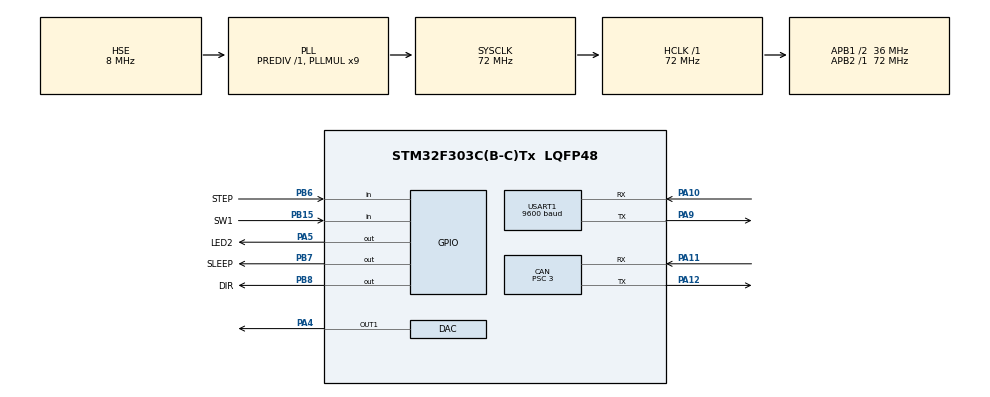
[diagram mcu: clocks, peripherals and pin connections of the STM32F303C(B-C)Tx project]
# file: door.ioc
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CAN.ABOM=ENABLE
CAN.BS1=CAN_BS1_9TQ
CAN.BS2=CAN_BS2_2TQ
CAN.CalculateTimeQuantum=83.33333333333334
CAN.NART=DISABLE
CAN.Prescaler=3
Mcu.Family=STM32F3
Mcu.Name=STM32F303C(B-C)Tx
Mcu.Package=LQFP48
NVIC.CAN_RX1_IRQn=true\:0\:0\:false\:false\:true\:true
NVIC.PriorityGroup=NVIC_PRIORITYGROUP_4
NVIC.USART1_IRQn=true\:0\:0\:false\:false\:true\:true
NVIC.USB_HP_CAN_TX_IRQn=true\:0\:0\:false\:false\:true\:true
PA10.Mode=Asynchronous
PA10.Signal=USART1_RX
PA11.Mode=Master
PA11.Signal=CAN_RX
PA12.Mode=Master
PA12.Signal=CAN_TX
PA13.Mode=Serial_Wire
PA13.Signal=SYS_JTMS-SWDIO
PA14.Mode=Serial_Wire
PA14.Signal=SYS_JTCK-SWCLK
PA4.Signal=COMP_DAC1_group
PA5.GPIO_Label=LED2
PA5.Signal=GPIO_Output
PA9.Mode=Asynchronous
PA9.Signal=USART1_TX
PB15.GPIO_Label=SW1
PB15.Signal=GPIO_Input
PB6.GPIO_Label=STEP
PB6.Signal=GPIO_Input
PB7.GPIO_Label=SLEEP
PB7.Signal=GPIO_Output
PB8.GPIO_Label=DIR
PB8.Signal=GPIO_Output
PF0-OSC_IN.Mode=HSE-External-Oscillator
PF0-OSC_IN.Signal=RCC_OSC_IN
PF1-OSC_OUT.Mode=HSE-External-Oscillator
PF1-OSC_OUT.Signal=RCC_OSC_OUT
ProjectManager.HeapSize=0x200
ProjectManager.StackSize=0x400
ProjectManager.TargetToolchain=Makefile
RCC.AHBFreq_Value=72000000
RCC.APB1CLKDivider=RCC_HCLK_DIV2
RCC.APB1Freq_Value=36000000
RCC.APB1TimFreq_Value=72000000
RCC.APB2Freq_Value=72000000
RCC.APB2TimFreq_Value=72000000
RCC.CortexFreq_Value=72000000
RCC.HCLKFreq_Value=72000000
RCC.HSE_VALUE=8000000
RCC.HSI_VALUE=8000000
RCC.LSE_VALUE=32768
RCC.PLLMUL=RCC_PLL_MUL9
RCC.PLLSourceVirtual=RCC_PLLSOURCE_HSE
RCC.SYSCLKFreq_VALUE=72000000
RCC.SYSCLKSourceVirtual=RCC_SYSCLKSOURCE_PLLCLK
RCC.USBFreq_Value=72000000
SH.COMP_DAC1_group.0=DAC_OUT1,DAC_OUT1
USART1.BaudRate=9600
USART1.VirtualMode-Asynchronous=VM_ASYNC
VP_TIM1_VS_ClockSourceINT.Mode=Internal
board=custom

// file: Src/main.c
/**
  ******************************************************************************
  * @file           : main.c
  * @brief          : Main program body
  ******************************************************************************
  ** This notice applies to any and all portions of this file
  * that are not between comment pairs USER CODE BEGIN and
  * USER CODE END. Other portions of this file, whether
  * inserted by the user or by software development tools
  * are owned by their respective copyright owners.
  *
  * COPYRIGHT(c) 2019 STMicroelectronics
  *
  * Redistribution and use in source and binary forms, with or without modification,
  * are permitted provided that the following conditions are met:
  *   1. Redistributions of source code must retain the above copyright notice,
  *      this list of conditions and the following disclaimer.
  *   2. Redistributions in binary form must reproduce the above copyright notice,
  *      this list of conditions and the following disclaimer in the documentation
  *      and/or other materials provided with the distribution.
  *   3. Neither the name of STMicroelectronics nor the names of its contributors
  *      may be used to endorse or promote products derived from this software
  *      without specific prior written permission.
  *
  * THIS SOFTWARE IS PROVIDED BY THE COPYRIGHT HOLDERS AND CONTRIBUTORS "AS IS"
  * AND ANY EXPRESS OR IMPLIED WARRANTIES, INCLUDING, BUT NOT LIMITED TO, THE
  * IMPLIED WARRANTIES OF MERCHANTABILITY AND FITNESS FOR A PARTICULAR PURPOSE ARE
  * DISCLAIMED. IN NO EVENT SHALL THE COPYRIGHT HOLDER OR CONTRIBUTORS BE LIABLE
  * FOR ANY DIRECT, INDIRECT, INCIDENTAL, SPECIAL, EXEMPLARY, OR CONSEQUENTIAL
  * DAMAGES (INCLUDING, BUT NOT LIMITED TO, PROCUREMENT OF SUBSTITUTE GOODS OR
  * SERVICES; LOSS OF USE, DATA, OR PROFITS; OR BUSINESS INTERRUPTION) HOWEVER
  * CAUSED AND ON ANY THEORY OF LIABILITY, WHETHER IN CONTRACT, STRICT LIABILITY,
  * OR TORT (INCLUDING NEGLIGENCE OR OTHERWISE) ARISING IN ANY WAY OUT OF THE USE
  * OF THIS SOFTWARE, EVEN IF ADVISED OF THE POSSIBILITY OF SUCH DAMAGE.
  *
  ******************************************************************************
  */
#include "main.h"
#include "stm32f3xx_hal.h"

/* USER CODE BEGIN Includes */
#include <math.h>
#include "pin.h"
#define SINE_VALUES 400
#define PI 3.14159265
/* USER CODE END Includes */

CAN_HandleTypeDef hcan;

DAC_HandleTypeDef hdac;

TIM_HandleTypeDef htim1;

UART_HandleTypeDef huart1;

/* USER CODE BEGIN PV */
/* Private variables ---------------------------------------------------------*/
#ifdef __cplusplus

extern "C" {

#endif

/* USER CODE END PV */

void SystemClock_Config(void);
static void MX_GPIO_Init(void);
static void MX_CAN_Init(void);
static void MX_USART1_UART_Init(void);
static void MX_TIM1_Init(void);
static void MX_DAC_Init(void);

/* USER CODE BEGIN PFP */
/* Private function prototypes -----------------------------------------------*/

/* USER CODE END PFP */
#ifdef __cplusplus

}

#endif

int main(void)
{

  /* MCU Configuration----------------------------------------------------------*/

  /* Reset of all peripherals, Initializes the Flash interface and the Systick. */
  HAL_Init();

  /* Configure the system clock */
  SystemClock_Config();

  /* Initialize all configured peripherals */
  MX_GPIO_Init();
  MX_CAN_Init();
  MX_USART1_UART_Init();
  MX_TIM1_Init();
  MX_DAC_Init();
  /* USER CODE BEGIN 2 */
  HAL_DAC_Init(&hdac);
  HAL_DAC_Start(&hdac, DAC_CHANNEL_1);

  uint16_t sinTable[SINE_VALUES];
  uint16_t value;
  Gpio gpioA(GPIOA);
  Pin led(&gpioA, LED2_Pin);
  led.out();

  for (int i = 0; i < SINE_VALUES; i++){
    value = (uint16_t)rint((sin(i*((2*PI)/SINE_VALUES))+1.1)*1500);
    sinTable[i] = value < 4096 ? value : 4095;
  }
  /* USER CODE END 2 */

  /* Infinite loop */
  /* USER CODE BEGIN WHILE */
  int i = 0;
  while (1)
  {

      //HAL_DAC_SetValue(&hdac, DAC_CHANNEL_1, DAC_ALIGN_12B_R, (uint16_t) sinTable[i]);
      HAL_Delay(500);
     // GPIOA->ODR ^= LED2_Pin;
      led.toggle();
      i++;
      if(i == SINE_VALUES) i = 0;
  /* USER CODE END WHILE */

  }

}

void SystemClock_Config(void)
{

  RCC_OscInitTypeDef RCC_OscInitStruct;
  RCC_ClkInitTypeDef RCC_ClkInitStruct;
  RCC_PeriphCLKInitTypeDef PeriphClkInit;

    /**Initializes the CPU, AHB and APB busses clocks
    */
  RCC_OscInitStruct.OscillatorType = RCC_OSCILLATORTYPE_HSE;
  RCC_OscInitStruct.HSEState = RCC_HSE_ON;
  RCC_OscInitStruct.HSEPredivValue = RCC_HSE_PREDIV_DIV1;
  RCC_OscInitStruct.HSIState = RCC_HSI_ON;
  RCC_OscInitStruct.PLL.PLLState = RCC_PLL_ON;
  RCC_OscInitStruct.PLL.PLLSource = RCC_PLLSOURCE_HSE;
  RCC_OscInitStruct.PLL.PLLMUL = RCC_PLL_MUL9;
  if (HAL_RCC_OscConfig(&RCC_OscInitStruct) != HAL_OK)
  {
    _Error_Handler(__FILE__, __LINE__);
  }

    /**Initializes the CPU, AHB and APB busses clocks
    */
  RCC_ClkInitStruct.ClockType = RCC_CLOCKTYPE_HCLK|RCC_CLOCKTYPE_SYSCLK
                              |RCC_CLOCKTYPE_PCLK1|RCC_CLOCKTYPE_PCLK2;
  RCC_ClkInitStruct.SYSCLKSource = RCC_SYSCLKSOURCE_PLLCLK;
  RCC_ClkInitStruct.AHBCLKDivider = RCC_SYSCLK_DIV1;
  RCC_ClkInitStruct.APB1CLKDivider = RCC_HCLK_DIV2;
  RCC_ClkInitStruct.APB2CLKDivider = RCC_HCLK_DIV1;

  if (HAL_RCC_ClockConfig(&RCC_ClkInitStruct, FLASH_LATENCY_2) != HAL_OK)
  {
    _Error_Handler(__FILE__, __LINE__);
  }

  PeriphClkInit.PeriphClockSelection = RCC_PERIPHCLK_USART1|RCC_PERIPHCLK_TIM1;
  PeriphClkInit.Usart1ClockSelection = RCC_USART1CLKSOURCE_PCLK2;
  PeriphClkInit.Tim1ClockSelection = RCC_TIM1CLK_HCLK;
  if (HAL_RCCEx_PeriphCLKConfig(&PeriphClkInit) != HAL_OK)
  {
    _Error_Handler(__FILE__, __LINE__);
  }

    /**Configure the Systick interrupt time
    */
  HAL_SYSTICK_Config(HAL_RCC_GetHCLKFreq()/1000);

    /**Configure the Systick
    */
  HAL_SYSTICK_CLKSourceConfig(SYSTICK_CLKSOURCE_HCLK);

  /* SysTick_IRQn interrupt configuration */
  HAL_NVIC_SetPriority(SysTick_IRQn, 0, 0);
}

/* CAN init function */
static void MX_CAN_Init(void)
{

  hcan.Instance = CAN;
  hcan.Init.Prescaler = 3;
  hcan.Init.Mode = CAN_MODE_NORMAL;
  hcan.Init.SyncJumpWidth = CAN_SJW_1TQ;
  hcan.Init.TimeSeg1 = CAN_BS1_9TQ;
  hcan.Init.TimeSeg2 = CAN_BS2_2TQ;
  hcan.Init.TimeTriggeredMode = DISABLE;
  hcan.Init.AutoBusOff = ENABLE;
  hcan.Init.AutoWakeUp = DISABLE;
  hcan.Init.AutoRetransmission = DISABLE;
  hcan.Init.ReceiveFifoLocked = DISABLE;
  hcan.Init.TransmitFifoPriority = DISABLE;
  if (HAL_CAN_Init(&hcan) != HAL_OK)
  {
    _Error_Handler(__FILE__, __LINE__);
  }

}

/* DAC init function */
static void MX_DAC_Init(void)
{

  DAC_ChannelConfTypeDef sConfig;

    /**DAC Initialization
    */
  hdac.Instance = DAC;
  if (HAL_DAC_Init(&hdac) != HAL_OK)
  {
    _Error_Handler(__FILE__, __LINE__);
  }

    /**DAC channel OUT1 config
    */
  sConfig.DAC_Trigger = DAC_TRIGGER_NONE;
  sConfig.DAC_OutputBuffer = DAC_OUTPUTBUFFER_ENABLE;
  if (HAL_DAC_ConfigChannel(&hdac, &sConfig, DAC_CHANNEL_1) != HAL_OK)
  {
    _Error_Handler(__FILE__, __LINE__);
  }

}

/* TIM1 init function */
static void MX_TIM1_Init(void)
{

  TIM_ClockConfigTypeDef sClockSourceConfig;
  TIM_MasterConfigTypeDef sMasterConfig;

  htim1.Instance = TIM1;
  htim1.Init.Prescaler = 0;
  htim1.Init.CounterMode = TIM_COUNTERMODE_UP;
  htim1.Init.Period = 0;
  htim1.Init.ClockDivision = TIM_CLOCKDIVISION_DIV1;
  htim1.Init.RepetitionCounter = 0;
  htim1.Init.AutoReloadPreload = TIM_AUTORELOAD_PRELOAD_DISABLE;
  if (HAL_TIM_Base_Init(&htim1) != HAL_OK)
  {
    _Error_Handler(__FILE__, __LINE__);
  }

  sClockSourceConfig.ClockSource = TIM_CLOCKSOURCE_INTERNAL;
  if (HAL_TIM_ConfigClockSource(&htim1, &sClockSourceConfig) != HAL_OK)
  {
    _Error_Handler(__FILE__, __LINE__);
  }

  sMasterConfig.MasterOutputTrigger = TIM_TRGO_RESET;
  sMasterConfig.MasterOutputTrigger2 = TIM_TRGO2_RESET;
  sMasterConfig.MasterSlaveMode = TIM_MASTERSLAVEMODE_DISABLE;
  if (HAL_TIMEx_MasterConfigSynchronization(&htim1, &sMasterConfig) != HAL_OK)
  {
    _Error_Handler(__FILE__, __LINE__);
  }

}

/* USART1 init function */
static void MX_USART1_UART_Init(void)
{

  huart1.Instance = USART1;
  huart1.Init.BaudRate = 9600;
  huart1.Init.WordLength = UART_WORDLENGTH_8B;
  huart1.Init.StopBits = UART_STOPBITS_1;
  huart1.Init.Parity = UART_PARITY_NONE;
  huart1.Init.Mode = UART_MODE_TX_RX;
  huart1.Init.HwFlowCtl = UART_HWCONTROL_NONE;
  huart1.Init.OverSampling = UART_OVERSAMPLING_16;
  huart1.Init.OneBitSampling = UART_ONE_BIT_SAMPLE_DISABLE;
  huart1.AdvancedInit.AdvFeatureInit = UART_ADVFEATURE_NO_INIT;
  if (HAL_UART_Init(&huart1) != HAL_OK)
  {
    _Error_Handler(__FILE__, __LINE__);
  }

}

/** Configure pins as
        * Analog
        * Input
        * Output
        * EVENT_OUT
        * EXTI
        * Free pins are configured automatically as Analog (this feature is enabled through
        * the Code Generation settings)
*/
static void MX_GPIO_Init(void)
{

  GPIO_InitTypeDef GPIO_InitStruct;

  /* GPIO Ports Clock Enable */
  __HAL_RCC_GPIOC_CLK_ENABLE();
  __HAL_RCC_GPIOF_CLK_ENABLE();
  __HAL_RCC_GPIOA_CLK_ENABLE();
  __HAL_RCC_GPIOB_CLK_ENABLE();

  /*Configure GPIO pin Output Level */
  HAL_GPIO_WritePin(LED2_GPIO_Port, LED2_Pin, GPIO_PIN_RESET);

  /*Configure GPIO pin Output Level */
  HAL_GPIO_WritePin(GPIOB, SLEEP_Pin|DIR_Pin, GPIO_PIN_RESET);

  /*Configure GPIO pins : PC13 PC14 PC15 */
  GPIO_InitStruct.Pin = GPIO_PIN_13|GPIO_PIN_14|GPIO_PIN_15;
  GPIO_InitStruct.Mode = GPIO_MODE_ANALOG;
  GPIO_InitStruct.Pull = GPIO_NOPULL;
  HAL_GPIO_Init(GPIOC, &GPIO_InitStruct);

  /*Configure GPIO pins : PA0 PA1 PA2 PA3
                           PA6 PA7 PA8 PA15 */
  GPIO_InitStruct.Pin = GPIO_PIN_0|GPIO_PIN_1|GPIO_PIN_2|GPIO_PIN_3
                          |GPIO_PIN_6|GPIO_PIN_7|GPIO_PIN_8|GPIO_PIN_15;
  GPIO_InitStruct.Mode = GPIO_MODE_ANALOG;
  GPIO_InitStruct.Pull = GPIO_NOPULL;
  HAL_GPIO_Init(GPIOA, &GPIO_InitStruct);

  /*Configure GPIO pin : LED2_Pin */
  GPIO_InitStruct.Pin = LED2_Pin;
  GPIO_InitStruct.Mode = GPIO_MODE_OUTPUT_PP;
  GPIO_InitStruct.Pull = GPIO_NOPULL;
  GPIO_InitStruct.Speed = GPIO_SPEED_FREQ_LOW;
  HAL_GPIO_Init(LED2_GPIO_Port, &GPIO_InitStruct);

  /*Configure GPIO pins : PB0 PB1 PB2 PB10
                           PB11 PB12 PB13 PB14
                           PB3 PB4 PB5 PB9 */
  GPIO_InitStruct.Pin = GPIO_PIN_0|GPIO_PIN_1|GPIO_PIN_2|GPIO_PIN_10
                          |GPIO_PIN_11|GPIO_PIN_12|GPIO_PIN_13|GPIO_PIN_14
                          |GPIO_PIN_3|GPIO_PIN_4|GPIO_PIN_5|GPIO_PIN_9;
  GPIO_InitStruct.Mode = GPIO_MODE_ANALOG;
  GPIO_InitStruct.Pull = GPIO_NOPULL;
  HAL_GPIO_Init(GPIOB, &GPIO_InitStruct);

  /*Configure GPIO pins : SW1_Pin STEP_Pin */
  GPIO_InitStruct.Pin = SW1_Pin|STEP_Pin;
  GPIO_InitStruct.Mode = GPIO_MODE_INPUT;
  GPIO_InitStruct.Pull = GPIO_NOPULL;
  HAL_GPIO_Init(GPIOB, &GPIO_InitStruct);

  /*Configure GPIO pins : SLEEP_Pin DIR_Pin */
  GPIO_InitStruct.Pin = SLEEP_Pin|DIR_Pin;
  GPIO_InitStruct.Mode = GPIO_MODE_OUTPUT_PP;
  GPIO_InitStruct.Pull = GPIO_NOPULL;
  GPIO_InitStruct.Speed = GPIO_SPEED_FREQ_LOW;
  HAL_GPIO_Init(GPIOB, &GPIO_InitStruct);

}

void _Error_Handler(char *file, int line)
{
  while(1)
  {
  }
}

/************************ (C) COPYRIGHT STMicroelectronics *****END OF FILE****/
